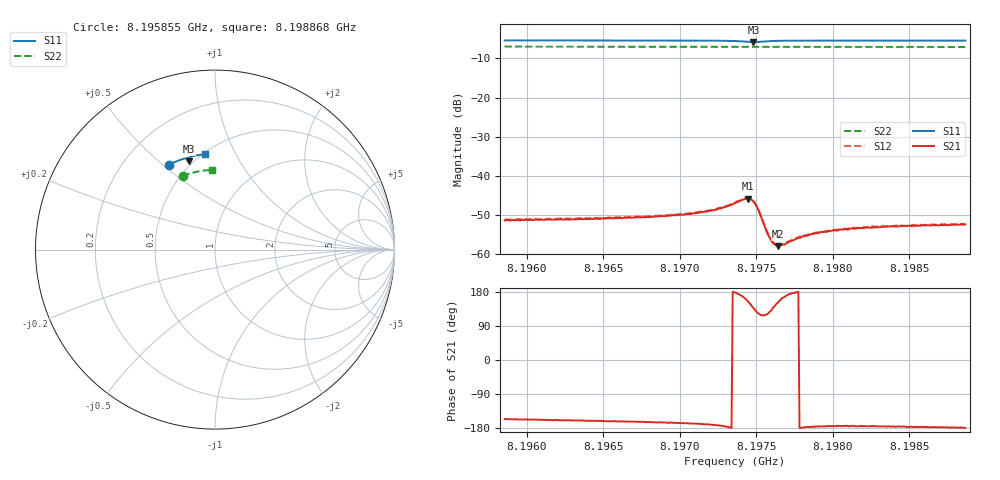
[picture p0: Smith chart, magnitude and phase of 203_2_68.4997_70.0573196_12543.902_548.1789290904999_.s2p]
#  HZ  S  RI  R  50.00
! Rohde & Schwarz Vector Network Analyzer
! Rohde-Schwarz,ZNB20-2Port,1311601062101988,3.16
! Created: UTC 3/20/2024, 5:12:50 PM
! freq[Hz]  re:S11  im:S11  re:S21  im:S21  re:S12  im:S12  re:S22  im:S22
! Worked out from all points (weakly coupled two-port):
!   401 points, 8.195855 GHz to 8.198868 GHz, reference 50 ohm
!   highest |S21| = -45.77 dB at 8.197445 GHz (marker M1); lowest = -57.9 dB at 8.19764 GHz (marker M2)
!   lowest |S11| = -5.8 dB at 8.197482 GHz (marker M3), VSWR 3.10, Z = 23.8 + j31.6 ohm
!   |S11| at or under -10 dB: nowhere
!   |S22| runs from -7.1 to -7.0 dB; largest |S21 - S12| = 0.00027
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8.1958554e9  -0.2568 0.4717  -0.00246 -0.00109  -0.00257 -0.00104  -0.1798 0.4106
8.19636e9  -0.2243 0.4875  -0.00262 -0.000967  -0.00276 -0.000892  -0.1532 0.4204
8.1968646e9  -0.19 0.5012  -0.00293 -0.000826  -0.00304 -0.000682  -0.126 0.4284
8.1970604e9  -0.1757 0.5057  -0.0032 -0.000711  -0.00329 -0.000585  -0.1151 0.4311
8.1971659e9  -0.1671 0.5077  -0.00342 -0.000614  -0.00352 -0.000551  -0.1093 0.4325
8.1972788e9  -0.1566 0.5089  -0.00388 -0.000409  -0.00398 -0.000248  -0.103 0.4337
8.1973617e9  -0.1473 0.5074  -0.00449 0.000173  -0.00457 0.000328  -0.0984 0.4346
8.1974144e9  -0.1413 0.5025  -0.00484 0.00115  -0.00488 0.00139  -0.0955 0.4351
8.1974445e9  -0.1401 0.4972  -0.00467 0.00217  -0.00469 0.00236  -0.0937 0.4352
8.1974671e9  -0.1422 0.4928  -0.00409 0.00289  -0.00405 0.0031  -0.0928 0.4352
8.1974822e9  -0.1451 0.4909  -0.00343 0.00322  -0.00338 0.00343  -0.0919 0.4355
8.1975123e9  -0.1515 0.492  -0.00208 0.0031  -0.00199 0.00325  -0.0906 0.4357
8.197565e9  -0.1548 0.5011  -0.000997 0.00177  -0.000921 0.00185  -0.0877 0.4365
8.1975876e9  -0.1536 0.5043  -0.000989 0.00131  -0.000929 0.00137  -0.0864 0.4366
8.1976178e9  -0.1513 0.5078  -0.00105 0.000864  -0.00102 0.000913  -0.0848 0.4371
8.1976404e9  -0.1492 0.5097  -0.00111 0.000608  -0.00113 0.000659  -0.0836 0.4373
8.1976705e9  -0.1464 0.5118  -0.00126 0.000372  -0.00127 0.000421  -0.0817 0.4376
8.1977985e9  -0.1354 0.5168  -0.00168 -4.01e-05  -0.0017 2.61e-05  -0.0745 0.4387
8.1978663e9  -0.1298 0.5186  -0.0018 -0.000132  -0.00183 -4.32e-05  -0.0707 0.4392
8.1980621e9  -0.115 0.5224  -0.00204 -0.000201  -0.0021 -0.000111  -0.0597 0.4405
8.1983709e9  -0.0926 0.5267  -0.00224 -0.000176  -0.00231 -9.91e-05  -0.0423 0.442
8.198868e9  -0.0571 0.5313  -0.0024 -3.55e-05  -0.00243 6.21e-05  -0.0141 0.443
